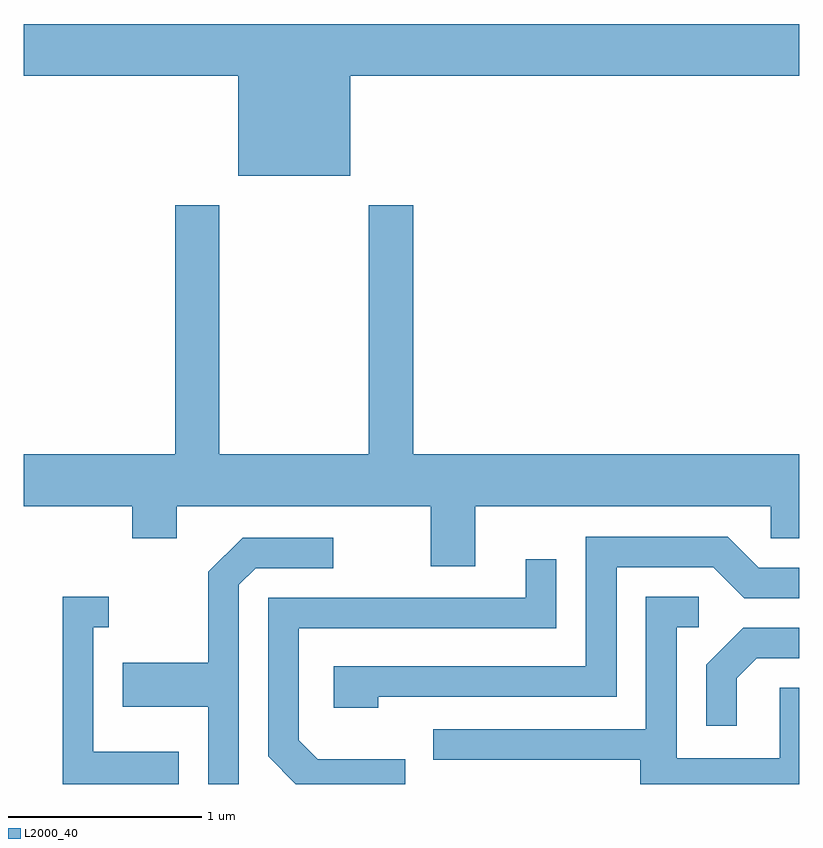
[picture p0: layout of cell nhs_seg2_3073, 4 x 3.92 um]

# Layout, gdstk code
import gdstk
lib = gdstk.Library(unit=1e-6, precision=1e-09)
def P(c, l, *ps):  # polygons
    for p in ps: c.add(gdstk.Polygon(p, *l))
L2000_40 = (2000, 40)

nhs_seg2_3073 = lib.new_cell('nhs_seg2_3073')
P(nhs_seg2_3073, L2000_40, [(277.294,1019.456),(279.611,1019.456),(279.611,1019.724),(275.611,1019.724),(275.611,1019.456),(276.716,1019.456),(276.716,1018.941),(277.294,1018.941)],
  [(277.939,1017.236),(279.466,1017.236),(279.466,1017.071),(279.611,1017.071),(279.611,1017.504),(277.619,1017.504),(277.619,1018.789),(277.391,1018.789),(277.391,1017.504),(276.619,1017.504),(276.619,1018.789),(276.391,1018.789),(276.391,1017.504),(275.611,1017.504),(275.611,1017.236),(276.171,1017.236),(276.171,1017.071),(276.399,1017.071),(276.399,1017.236),(277.711,1017.236),(277.711,1016.926),(277.939,1016.926)],
  [(277.439,1016.251),(278.669,1016.251),(278.669,1016.921),(279.169,1016.921),(279.329,1016.761),(279.611,1016.761),(279.611,1016.919),(279.402,1016.919),(279.242,1017.079),(278.511,1017.079),(278.511,1016.409),(277.211,1016.409),(277.211,1016.196),(277.439,1016.196)],
  [(276.719,1016.829),(276.807,1016.916),(277.208,1016.916),(277.208,1017.074),(276.739,1017.074),(276.561,1016.897),(276.561,1016.429),(276.121,1016.429),(276.121,1016.201),(276.561,1016.201),(276.561,1015.802),(276.719,1015.802)],
  [(277.579,1015.929),(277.127,1015.929),(277.029,1016.027),(277.029,1016.606),(278.359,1016.606),(278.359,1016.963),(278.201,1016.963),(278.201,1016.764),(276.871,1016.764),(276.871,1015.944),(277.013,1015.802),(277.579,1015.802)],
  [(279.611,1016.299),(279.511,1016.299),(279.511,1015.934),(278.979,1015.934),(278.979,1016.611),(279.093,1016.611),(279.093,1016.769),(278.821,1016.769),(278.821,1016.084),(277.723,1016.084),(277.723,1015.926),(278.791,1015.926),(278.791,1015.802),(279.611,1015.802)],
  [(276.409,1015.969),(275.969,1015.969),(275.969,1016.611),(276.048,1016.611),(276.048,1016.769),(275.811,1016.769),(275.811,1015.802),(276.409,1015.802)],
  [(279.289,1016.349),(279.392,1016.451),(279.611,1016.451),(279.611,1016.609),(279.324,1016.609),(279.131,1016.417),(279.131,1016.103),(279.289,1016.103)])

lib.write_gds('nhs_seg2_3073.gds')
